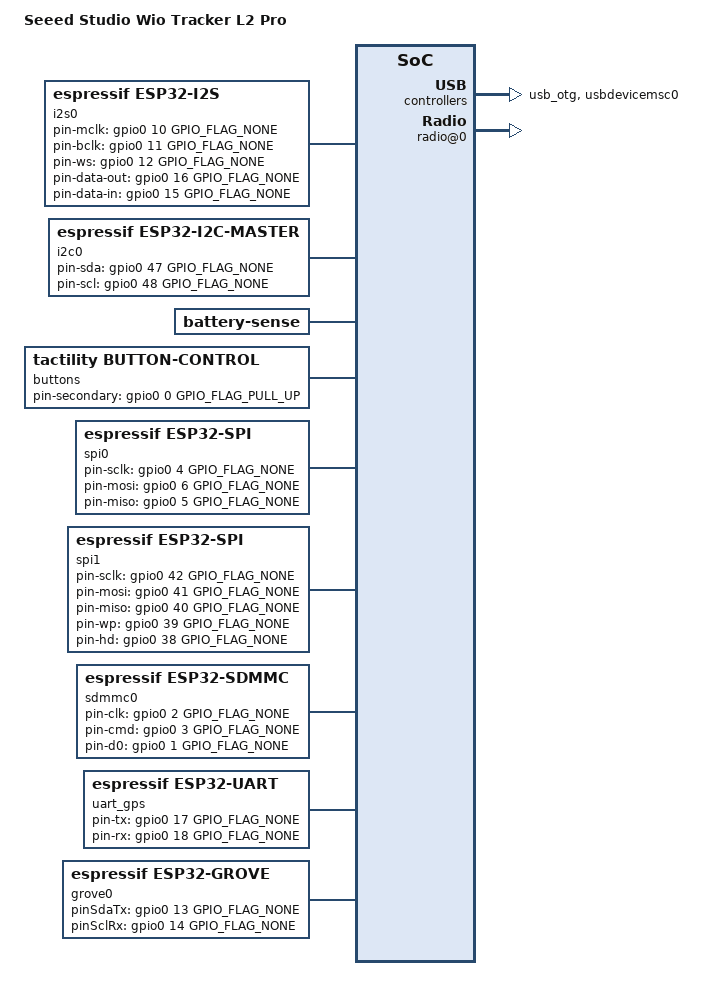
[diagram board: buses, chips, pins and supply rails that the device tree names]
/dts-v1/;

#include <tactility/bindings/root.h>
#include <tactility/bindings/battery_sense.h>
#include <tactility/bindings/esp32_ble.h>
#include <tactility/bindings/esp32_gpio.h>
#include <tactility/bindings/esp32_usbhost.h>
#include <tactility/bindings/esp32_grove.h>
#include <tactility/bindings/esp32_i2c_master.h>
#include <tactility/bindings/esp32_i2s.h>
#include <tactility/bindings/esp32_sdmmc.h>
#include <tactility/bindings/esp32_spi.h>
#include <tactility/bindings/esp32_uart.h>
#include <tactility/bindings/esp32_usbdevice.h>
#include <tactility/bindings/esp32_wifi_pinned.h>
#include <tactility/bindings/gpio_hog.h>
#include <bindings/tca95xx.h>
#include <bindings/ads1115.h>
#include <bindings/button_control.h>
#include <bindings/es7243e.h>
#include <bindings/es8311.h>
#include <bindings/gt911.h>
#include <bindings/lp5814.h>
#include <bindings/nv3031b.h>
#include <bindings/sx1262.h>
#include <gps_generic/bindings.h>

// Reference: https://wiki.seeedstudio.com/meshtastic_wio_tracker_l2_intro/
/ {
	compatible = "root";
	model = "Seeed Studio Wio Tracker L2 Pro";

	wifi0 {
		compatible = "espressif,esp32-wifi-pinned";
	};

	ble0 {
		compatible = "espressif,esp32-ble";
	};

	gpio0 {
		compatible = "espressif,esp32-gpio";
		gpio-count = <49>;
	};

	// Declared before i2c0 so the codec can reference it
	i2s0 {
		compatible = "espressif,esp32-i2s";
		port = <I2S_NUM_0>;
		pin-mclk = <&gpio0 10 GPIO_FLAG_NONE>;
		pin-bclk = <&gpio0 11 GPIO_FLAG_NONE>;
		pin-ws = <&gpio0 12 GPIO_FLAG_NONE>;
		pin-data-out = <&gpio0 16 GPIO_FLAG_NONE>;
		pin-data-in = <&gpio0 15 GPIO_FLAG_NONE>;
	};

	i2c0 {
		compatible = "espressif,esp32-i2c-master";
		port = <I2C_NUM_0>;
		clock-frequency = <100000>;
		pin-sda = <&gpio0 47 GPIO_FLAG_NONE>;
		pin-scl = <&gpio0 48 GPIO_FLAG_NONE>;

		// PCA9555, register compatible with the TCA9535
		pca9555 {
			compatible = "ti,tca9535";
			reg = <0x21>;

			// Driven high by the vendor firmware. After a cold boot the audio codecs only answer with this high.
			pin4 {
				compatible = "gpio-hog";
				pin = <&pca9555 4 GPIO_FLAG_NONE>;
				mode = <GPIO_HOG_MODE_OUTPUT_HIGH>;
			};

			lcd_power {
				compatible = "gpio-hog";
				pin = <&pca9555 5 GPIO_FLAG_NONE>;
				mode = <GPIO_HOG_MODE_OUTPUT_HIGH>;
			};

			grove_power {
				compatible = "gpio-hog";
				pin = <&pca9555 7 GPIO_FLAG_NONE>;
				mode = <GPIO_HOG_MODE_OUTPUT_HIGH>;
			};

			// Active high
			gnss_reset {
				compatible = "gpio-hog";
				pin = <&pca9555 9 GPIO_FLAG_NONE>;
				mode = <GPIO_HOG_MODE_OUTPUT_LOW>;
			};

			user_led {
				compatible = "gpio-hog";
				pin = <&pca9555 10 GPIO_FLAG_NONE>;
				mode = <GPIO_HOG_MODE_OUTPUT_LOW>;
			};

			usb_otg {
				compatible = "gpio-hog";
				pin = <&pca9555 11 GPIO_FLAG_NONE>;
				mode = <GPIO_HOG_MODE_OUTPUT_LOW>;
			};

			speaker_amplifier {
				compatible = "gpio-hog";
				pin = <&pca9555 12 GPIO_FLAG_NONE>;
				mode = <GPIO_HOG_MODE_OUTPUT_HIGH>;
			};

			gnss_power {
				compatible = "gpio-hog";
				pin = <&pca9555 13 GPIO_FLAG_NONE>;
				mode = <GPIO_HOG_MODE_OUTPUT_HIGH>;
			};

			sdcard_power {
				compatible = "gpio-hog";
				pin = <&pca9555 14 GPIO_FLAG_NONE>;
				mode = <GPIO_HOG_MODE_OUTPUT_HIGH>;
			};

			battery_divider {
				compatible = "gpio-hog";
				pin = <&pca9555 15 GPIO_FLAG_NONE>;
				mode = <GPIO_HOG_MODE_OUTPUT_HIGH>;
			};
		};

		// Native orientation is portrait, the device is used in landscape
		touch {
			compatible = "goodix,gt911";
			reg = <0x5D>;
			x-max = <240>;
			y-max = <320>;
			swap-xy;
			mirror-y;
			pin-reset = <&pca9555 8 GPIO_FLAG_ACTIVE_LOW>;
			pin-interrupt = <&pca9555 3 GPIO_FLAG_NONE>;
		};

		// Speaker
		es8311 {
			compatible = "everest,es8311";
			reg = <0x18>;
			i2s = <&i2s0>;
		};

		// Microphone
		es7243e {
			compatible = "everest,es7243e";
			reg = <0x14>;
			i2s = <&i2s0>;
		};

		// Battery on AIN0 through a 1:2 divider that is enabled by expander pin 15
		ads1115 {
			compatible = "ti,ads1115";
			reg = <0x48>;
			full-scale-mv = <4096>;
		};

		// Started at boot after the display is drawn
		display_backlight {
			compatible = "ti,lp5814";
			reg = <0x2C>;
			status = "disabled";
			// 40 mA per output, as in the vendor firmware
			high-current;
			dot-current = <200>;
		};
	};

	battery-sense {
		compatible = "battery-sense";
		io-channel = <&ads1115 0>;
		reference-voltage-mv = <4096>;
		multiplier = <2000>;
	};

	// WAKE: short press enter, long press back. BOOT: short press next, long press previous.
	buttons {
		compatible = "tactility,button-control";
		pin-primary = <&pca9555 0 GPIO_FLAG_NONE>;
		pin-secondary = <&gpio0 0 GPIO_FLAG_PULL_UP>;
	};

	spi0 {
		compatible = "espressif,esp32-spi";
		host = <SPI2_HOST>;
		cs-gpios = <&gpio0 21 GPIO_FLAG_NONE>;
		pin-sclk = <&gpio0 4 GPIO_FLAG_NONE>;
		pin-mosi = <&gpio0 6 GPIO_FLAG_NONE>;
		pin-miso = <&gpio0 5 GPIO_FLAG_NONE>;

		radio@0 {
			compatible = "semtech,sx1262";
			reg = <0>;
			pin-reset = <&gpio0 7 GPIO_FLAG_NONE>;
			pin-busy = <&gpio0 8 GPIO_FLAG_NONE>;
			pin-dio1 = <&gpio0 9 GPIO_FLAG_NONE>;
			tcxo-millivolts = <3000>;
			dio2-as-rf-switch;
		};
	};

	spi1 {
		compatible = "espressif,esp32-spi";
		host = <SPI3_HOST>;
		cs-gpios = <&gpio0 46 GPIO_FLAG_NONE>;
		pin-sclk = <&gpio0 42 GPIO_FLAG_NONE>;
		pin-mosi = <&gpio0 41 GPIO_FLAG_NONE>;
		pin-miso = <&gpio0 40 GPIO_FLAG_NONE>;
		pin-wp = <&gpio0 39 GPIO_FLAG_NONE>;
		pin-hd = <&gpio0 38 GPIO_FLAG_NONE>;

		display@0 {
			compatible = "newvision,nv3031b";
			horizontal-resolution = <320>;
			vertical-resolution = <240>;
			swap-xy;
			mirror-y;
			pixel-clock-hz = <40000000>;
			pin-reset = <&pca9555 6 GPIO_FLAG_NONE>;
			backlight = <&display_backlight>;
		};
	};

	sdmmc0 {
		compatible = "espressif,esp32-sdmmc";
		pin-clk = <&gpio0 2 GPIO_FLAG_NONE>;
		pin-cmd = <&gpio0 3 GPIO_FLAG_NONE>;
		pin-d0 = <&gpio0 1 GPIO_FLAG_NONE>;
		slot = <SDMMC_HOST_SLOT_1>;
		bus-width = <1>;
	};

	uart_gps {
		compatible = "espressif,esp32-uart";
		port = <UART_NUM_1>;
		pin-tx = <&gpio0 17 GPIO_FLAG_NONE>;
		pin-rx = <&gpio0 18 GPIO_FLAG_NONE>;

		gps {
			compatible = "tactility,gps-generic";
			status = "disabled";
			baud-rate = <9600>;
		};
	};

	// Powered by expander pin 7
	grove0 {
		compatible = "espressif,esp32-grove";
		defaultMode = <GROVE_MODE_I2C>;
		pinSdaTx = <&gpio0 13 GPIO_FLAG_NONE>;
		pinSclRx = <&gpio0 14 GPIO_FLAG_NONE>;
		uartPort = <UART_NUM_2>;
		i2cPort = <I2C_NUM_1>;
		i2cClockFrequency = <400000>;
	};

	usbdevice0 {
		compatible = "espressif,esp32-usbdevice";

		usbdevicemsc0 {
			compatible = "espressif,esp32-usbdevice-msc";
		};
	};

	usbhost0 {
		compatible = "espressif,esp32-usbhost";
		status = "disabled";
	};
};
